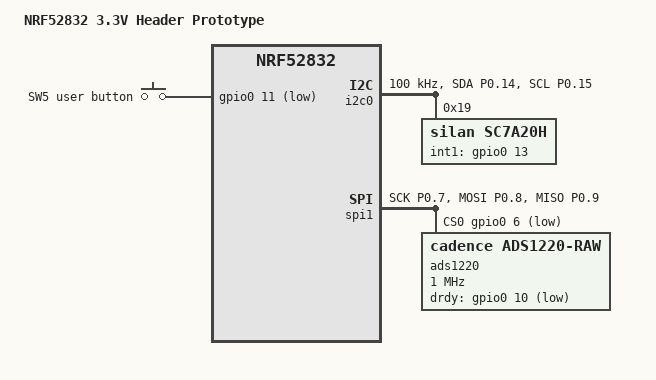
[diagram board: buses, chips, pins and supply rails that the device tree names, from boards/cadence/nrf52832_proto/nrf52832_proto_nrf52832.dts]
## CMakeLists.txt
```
cmake_minimum_required(VERSION 3.20.0)
list(APPEND BOARD_ROOT ${CMAKE_CURRENT_SOURCE_DIR})
list(APPEND DTS_ROOT ${CMAKE_CURRENT_SOURCE_DIR})
find_package(Zephyr REQUIRED HINTS $ENV{ZEPHYR_BASE})
project(nRF52832_DemoBoard)
if(NOT BOARD MATCHES "^nrf52832_proto(/.*)?$")
  message(FATAL_ERROR "Select nrf52832_proto/nrf52832; nrf52dk pin assignments do not match this hardware.")
endif()
target_sources(app PRIVATE src/main.c)
```

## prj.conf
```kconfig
# Board bring-up only; sensor algorithms and BLE services are separate work.
CONFIG_GPIO=y
CONFIG_I2C=y
CONFIG_SPI=y
CONFIG_PINCTRL=y
CONFIG_SERIAL=n
CONFIG_UART_CONSOLE=n
CONFIG_CONSOLE=y
CONFIG_PRINTK=y
CONFIG_USE_SEGGER_RTT=y
CONFIG_RTT_CONSOLE=y
CONFIG_SEGGER_RTT_MODE_NO_BLOCK_SKIP=y
CONFIG_BOOT_BANNER=y
CONFIG_MAIN_STACK_SIZE=2048
CONFIG_BUILD_OUTPUT_HEX=y
# The prototype board has X2 on P0.00/P0.01.
CONFIG_CLOCK_CONTROL_NRF_K32SRC_XTAL=y
# Conservative assumption until the fitted crystal + temperature budget is verified.
CONFIG_CLOCK_CONTROL_NRF_K32SRC_500PPM=y

# Required for reliable short SPIM transfers on nRF52832.
CONFIG_NRF52_ANOMALY_58_WORKAROUND=y
```

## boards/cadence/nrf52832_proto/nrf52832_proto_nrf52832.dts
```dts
/dts-v1/;
#include <nordic/nrf52832_qfaa.dtsi>
#include <zephyr/dt-bindings/gpio/gpio.h>
#include <zephyr/dt-bindings/pinctrl/nrf-pinctrl.h>
/ {
    model = "NRF52832 3.3V Header Prototype";
    compatible = "cadence,nrf52832-proto";
    chosen {
        zephyr,sram = &sram0;
        zephyr,flash = &flash0;
    };
    aliases { sw0 = &user_button; };
    buttons {
        compatible = "gpio-keys";
        user_button: user-button {
            label = "SW5 user button";
            gpios = <&gpio0 11 (GPIO_ACTIVE_LOW | GPIO_PULL_UP)>;
        };
    };
};
&gpio0 { status = "okay"; };
&gpiote { status = "okay"; };
&uicr {
    gpio-as-nreset;
    nfct-pins-as-gpios;
};
&reg { regulator-initial-mode = <NRF5X_REG_MODE_DCDC>; };
/* I2C0 and SPI1 use different peripheral instances. */
&i2c0 {
    compatible = "nordic,nrf-twim";
    status = "okay";
    clock-frequency = <100000>;
    pinctrl-0 = <&acc_default>;
    pinctrl-1 = <&acc_sleep>;
    pinctrl-names = "default", "sleep";
    sc7a20h: accelerometer@19 {
        compatible = "silan,sc7a20h";
        reg = <0x19>;
        int1-gpios = <&gpio0 13 GPIO_ACTIVE_HIGH>;
    };
};
&spi1 {
    compatible = "nordic,nrf-spim";
    status = "okay";
    pinctrl-0 = <&ads_default>;
    pinctrl-1 = <&ads_sleep>;
    pinctrl-names = "default", "sleep";
    cs-gpios = <&gpio0 6 GPIO_ACTIVE_LOW>;
    ads1220: adc@0 {
        compatible = "cadence,ads1220-raw";
        reg = <0>;
        spi-max-frequency = <1000000>;
        spi-cpha;
        drdy-gpios = <&gpio0 10 GPIO_ACTIVE_LOW>;
    };
};
&pinctrl {
    acc_default: acc-default {
        group1 { psels = <NRF_PSEL(TWIM_SDA, 0, 14)>, <NRF_PSEL(TWIM_SCL, 0, 15)>; };
    };
    acc_sleep: acc-sleep {
        group1 {
            psels = <NRF_PSEL(TWIM_SDA, 0, 14)>, <NRF_PSEL(TWIM_SCL, 0, 15)>;
            low-power-enable;
        };
    };
};

&pinctrl {
    ads_default: ads-default {
        group1 { psels = <NRF_PSEL(SPIM_SCK, 0, 7)>, <NRF_PSEL(SPIM_MOSI, 0, 8)>, <NRF_PSEL(SPIM_MISO, 0, 9)>; };
    };
    ads_sleep: ads-sleep {
        group1 {
            psels = <NRF_PSEL(SPIM_SCK, 0, 7)>, <NRF_PSEL(SPIM_MOSI, 0, 8)>, <NRF_PSEL(SPIM_MISO, 0, 9)>;
            low-power-enable;
        };
    };
};
```

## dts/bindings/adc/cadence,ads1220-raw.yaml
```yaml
description: ADS1220 raw SPI endpoint (application owns register protocol)
compatible: "cadence,ads1220-raw"
include: spi-device.yaml
properties:
  drdy-gpios:
    type: phandle-array
    required: true
```

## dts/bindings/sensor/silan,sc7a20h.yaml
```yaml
description: SC7A20H raw I2C endpoint (no Zephyr sensor driver instantiated)
compatible: "silan,sc7a20h"
include: i2c-device.yaml
properties:
  int1-gpios:
    type: phandle-array
    required: true
```

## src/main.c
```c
#include <zephyr/kernel.h>
#include <zephyr/device.h>
#include <zephyr/drivers/gpio.h>
#include <zephyr/drivers/i2c.h>
#include <zephyr/drivers/spi.h>
#include <zephyr/sys/printk.h>
#include <errno.h>

static const struct i2c_dt_spec acc = I2C_DT_SPEC_GET(DT_NODELABEL(sc7a20h));
static const struct spi_dt_spec ads = SPI_DT_SPEC_GET(DT_NODELABEL(ads1220),
                                                    SPI_WORD_SET(8) | SPI_TRANSFER_MSB);
static const struct gpio_dt_spec inputs[] = {
    GPIO_DT_SPEC_GET(DT_ALIAS(sw0), gpios),
    GPIO_DT_SPEC_GET(DT_NODELABEL(sc7a20h), int1_gpios),
    GPIO_DT_SPEC_GET(DT_NODELABEL(ads1220), drdy_gpios),
};

static int board_init(void)
{
    int err;
    for (size_t i = 0; i < ARRAY_SIZE(inputs); ++i) {
        if (!gpio_is_ready_dt(&inputs[i])) { return -ENODEV; }
        err = gpio_pin_configure_dt(&inputs[i], GPIO_INPUT);
        if (err) { return err; }
        err = gpio_pin_interrupt_configure_dt(&inputs[i], GPIO_INT_DISABLE);
        if (err) { return err; }
    }
    if (!i2c_is_ready_dt(&acc) || !spi_is_ready_dt(&ads)) { return -ENODEV; }
    /* Explicitly deassert software CS before the first transaction. */
    return gpio_pin_configure_dt(&ads.config.cs.gpio, GPIO_OUTPUT_INACTIVE);
}

int main(void)
{
    int err = board_init();
    printk("Board: %s; init: %d\n", CONFIG_BOARD_TARGET, err);
    if (err) { return err; }
    printk("I2C0: addr=0x%02x; SPI1: %u Hz, mode 1; GPIO inputs ready\n",
           acc.addr, ads.config.frequency);
    printk("Controller initialization only; sensor communication not yet verified.\n");
    /* Sensor configuration and acquisition are implemented separately. */
    k_sleep(K_FOREVER);
    return 0;
}
```
